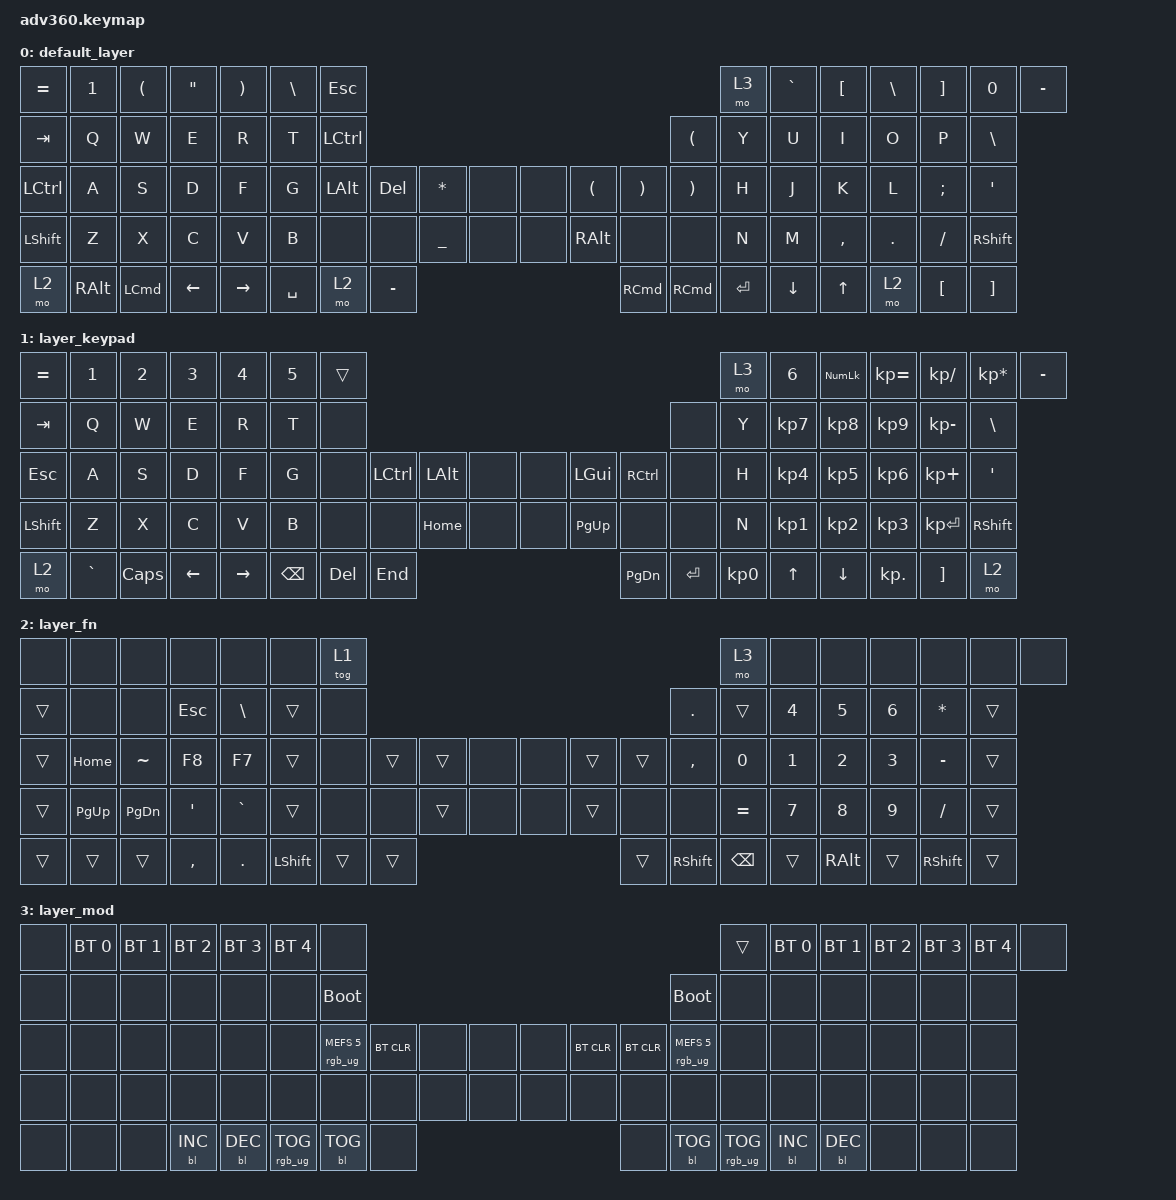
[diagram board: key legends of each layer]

/*
 * Copyright (c) 2020 The ZMK Contributors
 *
 * SPDX-License-Identifier: MIT
 */


/* THIS FILE WAS GENERATED!
 *
 * This file was generated automatically. You may or may not want to
 * edit it directly.
 */

#include <behaviors.dtsi>
#include <dt-bindings/zmk/keys.h>
#include <dt-bindings/zmk/bt.h>
#include <dt-bindings/zmk/rgb.h>
#include <dt-bindings/zmk/backlight.h>

/ {
  behaviors {
    #include "macros.dtsi"
    #include "version.dtsi"

    hm: homerow_mods {
        compatible = "zmk,behavior-hold-tap";
        label = "HOMEROW_MODS";
        #binding-cells = <2>;
        tapping-term-ms = <200>;
        quick_tap_ms = <175>;
        flavor = "tap-preferred";
        bindings = <&kp>, <&kp>;
    };
  };

    keymap {
        compatible = "zmk,keymap";


        default_layer {
            bindings = <
        &kp EQUAL   &kp NUMBER_1  &kp LEFT_PARENTHESIS  &kp DOUBLE_QUOTES  &kp RIGHT_PARENTHESIS  &kp BACKSLASH              &kp ESCAPE                                                                                                   &mo 3  &kp GRAVE  &kp LEFT_BRACKET  &kp BACKSLASH  &kp RIGHT_BRACKET            &kp N0          &kp MINUS
          &kp TAB          &kp Q                 &kp W              &kp E                  &kp R          &kp T               &kp LCTRL                                                                                    &kp LEFT_PARENTHESIS      &kp Y             &kp U          &kp I              &kp O             &kp P           &kp BSLH
 &kp LEFT_CONTROL          &kp A                 &kp S              &kp D                  &kp F          &kp G            &kp LEFT_ALT  &kp DEL   &kp STAR   &none   &none  &kp LEFT_PARENTHESIS  &kp RIGHT_PARENTHESIS  &kp RIGHT_PARENTHESIS      &kp H             &kp J          &kp K              &kp L          &kp SEMI            &kp SQT
        &kp LSHFT          &kp Z                 &kp X              &kp C                  &kp V          &kp B                   &none    &none  &kp UNDER   &none   &none         &kp RIGHT_ALT                  &none                  &none      &kp N             &kp M      &kp COMMA            &kp DOT          &kp FSLH          &kp RSHFT
            &mo 2  &kp RIGHT_ALT      &kp LEFT_COMMAND           &kp LEFT              &kp RIGHT                              &kp SPACE    &mo 2  &kp MINUS                     &kp RIGHT_COMMAND      &kp RIGHT_COMMAND              &kp ENTER               &kp DOWN_ARROW   &kp UP_ARROW              &mo 2  &kp LEFT_BRACKET  &kp RIGHT_BRACKET
            >;
        };

        layer_keypad {
            bindings = <
 &kp EQUAL     &kp N1    &kp N2    &kp N3     &kp N4  &kp N5              &trans                                                                 &mo 3  &kp N6  &kp KP_NUM  &kp KP_EQUAL  &kp KP_DIVIDE  &kp KP_MULTIPLY  &kp MINUS
   &kp TAB      &kp Q     &kp W     &kp E      &kp R   &kp T               &none                                                                 &none   &kp Y   &kp KP_N7     &kp KP_N8      &kp KP_N9     &kp KP_MINUS   &kp BSLH
   &kp ESC      &kp A     &kp S     &kp D      &kp F   &kp G               &none  &kp LCTRL  &kp LALT   &none   &none   &kp LGUI  &kp RCTRL      &none   &kp H   &kp KP_N4     &kp KP_N5      &kp KP_N6      &kp KP_PLUS    &kp SQT
 &kp LSHFT      &kp Z     &kp X     &kp C      &kp V   &kp B               &none      &none  &kp HOME   &none   &none  &kp PG_UP      &none      &none   &kp N   &kp KP_N1     &kp KP_N2      &kp KP_N3     &kp KP_ENTER  &kp RSHFT
     &mo 2  &kp GRAVE  &kp CAPS  &kp LEFT  &kp RIGHT                    &kp BSPC    &kp DEL   &kp END                  &kp PG_DN  &kp ENTER  &kp KP_N0              &kp UP      &kp DOWN     &kp KP_DOT         &kp RBKT      &mo 2
            >;
        };

        layer_fn {
            bindings = <
  &none        &none          &none             &none          &none   &none                    &tog 1                                                                   &mo 3         &none         &none          &none         &none            &none   &none
 &trans        &none          &none        &kp ESCAPE  &kp BACKSLASH  &trans                     &none                                                                 &kp DOT        &trans  &kp NUMBER_4   &kp NUMBER_5  &kp NUMBER_6     &kp ASTERISK  &trans
 &trans     &kp HOME      &kp TILDE            &kp F8         &kp F7  &trans                     &none  &trans  &trans   &none   &none  &trans           &trans      &kp COMMA  &kp NUMBER_0  &kp NUMBER_1   &kp NUMBER_2  &kp NUMBER_3        &kp MINUS  &trans
 &trans  &kp PAGE_UP  &kp PAGE_DOWN  &kp SINGLE_QUOTE      &kp GRAVE  &trans                     &none   &none  &trans   &none   &none  &trans            &none          &none     &kp EQUAL  &kp NUMBER_7   &kp NUMBER_8  &kp NUMBER_9        &kp SLASH  &trans
 &trans       &trans         &trans         &kp COMMA        &kp DOT                    &kp LEFT_SHIFT  &trans  &trans                  &trans  &kp RIGHT_SHIFT  &kp BACKSPACE                      &trans  &kp RIGHT_ALT        &trans  &kp RIGHT_SHIFT  &trans
            >;
        };

        layer_mod {
            bindings = <
  &none  &bt BT_SEL 0  &bt BT_SEL 1  &bt BT_SEL 2  &bt BT_SEL 3  &bt BT_SEL 4                             &none                                                                              &trans  &bt BT_SEL 0  &bt BT_SEL 1  &bt BT_SEL 2  &bt BT_SEL 3  &bt BT_SEL 4   &none
  &none         &none         &none         &none         &none         &none                       &bootloader                                                                         &bootloader         &none         &none         &none         &none         &none   &none
  &none         &none         &none         &none         &none         &none            &rgb_ug RGB_MEFS_CMD 5  &bt BT_CLR   &none   &none   &none  &bt BT_CLR  &bt BT_CLR  &rgb_ug RGB_MEFS_CMD 5         &none         &none         &none         &none         &none   &none
  &none         &none         &none         &none         &none         &none                             &none       &none   &none   &none   &none       &none       &none                   &none         &none         &none         &none         &none         &none   &none
  &none         &none         &none    &bl BL_INC    &bl BL_DEC                                 &rgb_ug RGB_TOG  &bl BL_TOG   &none                       &none  &bl BL_TOG         &rgb_ug RGB_TOG                  &bl BL_INC    &bl BL_DEC         &none         &none   &none
            >;
        };

    };
};
